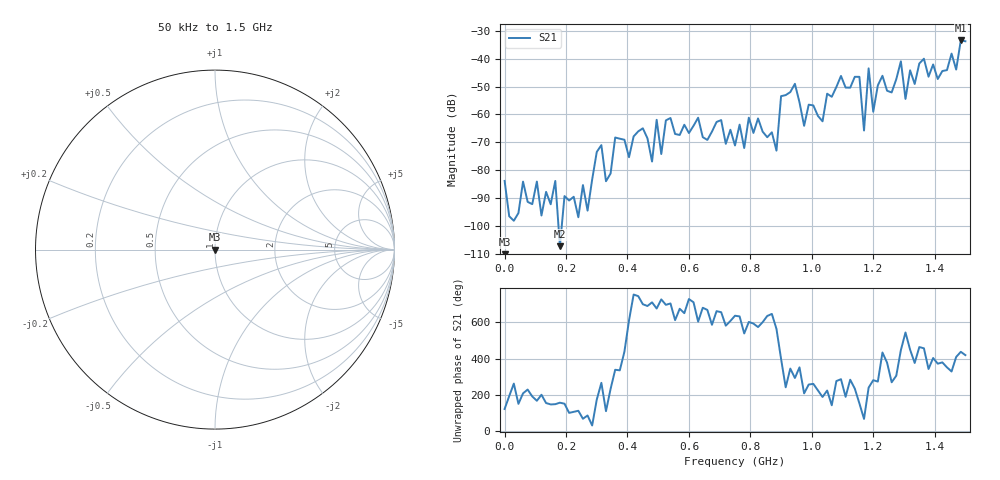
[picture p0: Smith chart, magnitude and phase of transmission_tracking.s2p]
! Created with skrf 1.8.0 (http://scikit-rf.org).
# Hz S RI R 50.0
!freq ReS11 ImS11 ReS21 ImS21 ReS12 ImS12 ReS22 ImS22
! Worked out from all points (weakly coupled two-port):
!   101 points, 50 kHz to 1.5 GHz, reference 50 ohm
!   highest |S21| = -33.47 dB at 1.485 GHz (marker M1); lowest = -107.2 dB at 180 MHz (marker M2)
!   lowest |S11| = - dB at 50 kHz (marker M3), VSWR 1.00, Z = 50 + j0 ohm
!   |S11| at or under -10 dB: start of sweep to end of sweep
!   S12 and S22 are empty: the file has one direction only
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50000  0 0  -3.24e-05 5.55e-05  0 0  0 0
1.80044e8  0 0  -3.94e-06 1.82e-06  0 0  0 0
2.550415e8  0 0  2.19e-05 4.96e-05  0 0  0 0
4.50035e8  0 0  0.000534 -0.000183  0 0  0 0
4.80034e8  0 0  0.000141 -2.08e-05  0 0  0 0
4.950335e8  0 0  0.000588 -0.000544  0 0  0 0
5.10033e8  0 0  0.000193 2.7e-05  0 0  0 0
5.40032e8  0 0  0.000835 -0.000217  0 0  0 0
7.50025e8  0 0  3.57e-05 -0.000275  0 0  0 0
8.250225e8  0 0  -0.000698 -0.00048  0 0  0 0
8.850205e8  0 0  -0.000205 -9.22e-05  0 0  0 0
9.0002e8  0 0  0.00168 0.00131  0 0  0 0
9.450185e8  0 0  0.00134 -0.00328  0 0  0 0
9.750175e8  0 0  -0.000557 -0.000283  0 0  0 0
1.005016e9  0 0  -0.000261 -0.00143  0 0  0 0
1.155012e9  0 0  -0.00414 0.00228  0 0  0 0
1.170011e9  0 0  0.000214 0.000468  0 0  0 0
1.18501e9  0 0  -0.00348 -0.00572  0 0  0 0
1.20001e9  0 0  0.000195 -0.0011  0 0  0 0
1.260008e9  0 0  -6.84e-05 -0.00248  0 0  0 0
1.485e9  0 0  0.00465 0.0207  0 0  0 0
1.5e9  0 0  0.0106 0.0176  0 0  0 0
